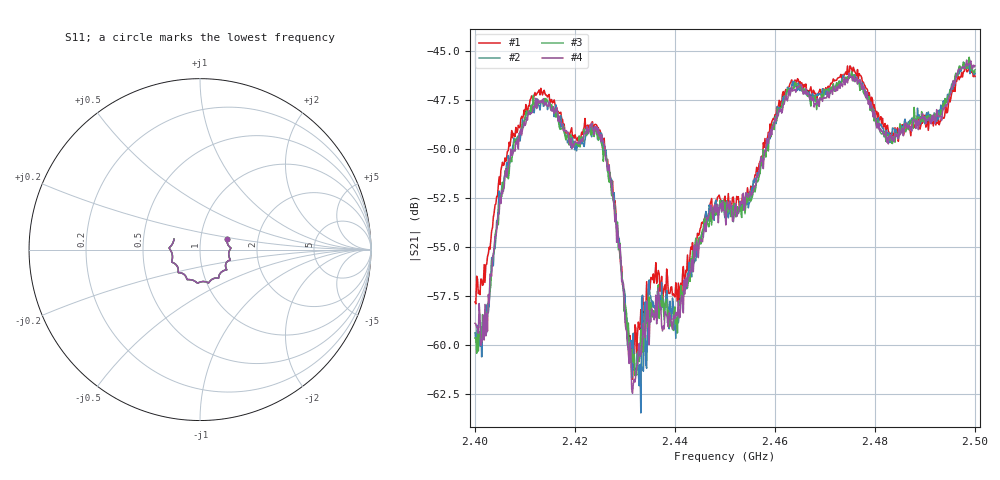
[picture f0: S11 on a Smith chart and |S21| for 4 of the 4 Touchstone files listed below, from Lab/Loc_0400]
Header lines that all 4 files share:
# Hz S RI R
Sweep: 2.4 GHz to 2.5 GHz
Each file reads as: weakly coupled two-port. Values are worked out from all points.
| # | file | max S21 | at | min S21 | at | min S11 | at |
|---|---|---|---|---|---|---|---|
| 1 | Lab_139_1Ch1.s2p | -45.77 dB | 2.475 GHz | -61.8 dB | 2.4315 GHz | -15.8 dB | 2.4993 GHz |
| 2 | Lab_139_8Ch1.s2p | -45.61 dB | 2.4978 GHz | -63.5 dB | 2.4332 GHz | -15.8 dB | 2.4987 GHz |
| 3 | Lab_139_9Ch1.s2p | -45.33 dB | 2.4988 GHz | -61.6 dB | 2.432 GHz | -15.8 dB | 2.4993 GHz |
| 4 | Lab_139_10Ch1.s2p | -45.47 dB | 2.4983 GHz | -62.5 dB | 2.4315 GHz | -15.8 dB | 2.499 GHz |
